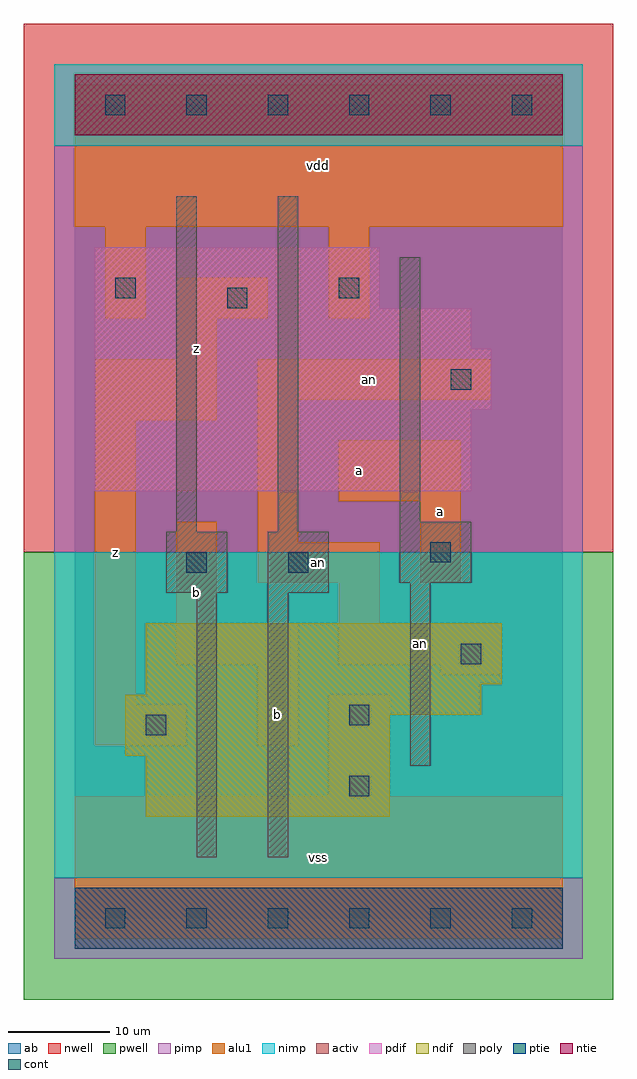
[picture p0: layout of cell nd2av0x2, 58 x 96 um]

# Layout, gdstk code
import gdstk
lib = gdstk.Library(unit=1e-6, precision=1e-09)
def R(c, l, rs):  # rectangles x0, y0, x1, y1
    for r in rs: c.add(gdstk.rectangle(r[:2], r[2:], *l))
def A(c, l, x, y, w, h, nx, ny, dx, dy):  # array of equal rectangles
    R(c, l, [(x+i*dx, y+j*dy, x+i*dx+w, y+j*dy+h) for i in range(nx) for j in range(ny)])
ndif = (3, 0)
pdif = (4, 0)
ntie = (5, 0)
ptie = (6, 0)
cont = (25, 0)
pwell = (41, 0)
nwell = (42, 0)
activ = (43, 0)
pimp = (44, 0)
nimp = (45, 0)
poly = (46, 0)
alu1 = (49, 0)
ab = (63, 0)

nd2av0x2 = lib.new_cell('nd2av0x2')
R(nd2av0x2, ndif, [(7,10,31,16), (5,16,31,20), (5,20,40,22), (7,22,40,23), (7,23,42,29)])
R(nd2av0x2, pdif, [(2,42,39,50), (2,50,41,56), (2,56,39,60), (2,60,30,66)])
R(nd2av0x2, ntie, [(0,77,48,83)])
R(nd2av0x2, ptie, [(0,-3,48,3)])
A(nd2av0x2, cont, 3, -1, 2, 2, 6, 2, 8, 80)
R(nd2av0x2, cont, [(27,12,29,14), (7,18,9,20), (27,19,29,21), (38,25,40,27), (11,34,13,36), (21,34,23,36), (35,35,37,37), (37,52,39,54), (15,60,17,62), (4,61,6,63), (26,61,28,63)])
R(nd2av0x2, pwell, [(-5,-8,53,36)])
R(nd2av0x2, nwell, [(-5,36,53,88)])
R(nd2av0x2, activ, [(0,-3,48,3), (7,10,31,16), (5,16,31,20), (5,20,40,22), (7,22,40,23), (7,23,42,29), (2,42,39,50), (2,50,41,56), (2,56,39,60), (2,60,30,66), (0,77,48,83)])
R(nd2av0x2, pimp, [(-2,-4,50,4), (-2,36,50,76)])
R(nd2av0x2, nimp, [(-2,4,50,36), (-2,76,50,84)])
R(nd2av0x2, poly, [(12,6,14,32), (19,6,21,32), (33,15,35,33), (9,32,15,38), (19,32,25,38), (32,33,39,39), (10,38,12,71), (20,38,22,71), (32,39,34,65)])
R(nd2av0x2, alu1, [(0,-2,48,12), (25,12,31,22), (2,17,11,21), (18,17,22,25), (2,21,6,49), (36,24,42,25), (10,25,22,29), (26,25,42,29), (10,29,14,39), (26,29,30,33), (18,33,30,37), (34,33,38,41), (18,37,22,51), (26,41,38,47), (2,49,14,55), (18,51,41,55), (10,55,14,59), (3,59,7,68), (10,59,19,63), (25,59,29,68), (0,68,48,82)])
R(nd2av0x2, ab, [(0,0,48,80)])
nd2av0x2.add(gdstk.Label('an', (24,35), layer=49, texttype=0))
nd2av0x2.add(gdstk.Label('an', (34,27), layer=49, texttype=0))
nd2av0x2.add(gdstk.Label('an', (29,53), layer=49, texttype=0))
nd2av0x2.add(gdstk.Label('z', (4,36), layer=49, texttype=0))
nd2av0x2.add(gdstk.Label('b', (20,20), layer=49, texttype=0))
nd2av0x2.add(gdstk.Label('b', (12,32), layer=49, texttype=0))
nd2av0x2.add(gdstk.Label('z', (12,56), layer=49, texttype=0))
nd2av0x2.add(gdstk.Label('vss', (24,6), layer=49, texttype=0))
nd2av0x2.add(gdstk.Label('a', (28,44), layer=49, texttype=0))
nd2av0x2.add(gdstk.Label('vdd', (24,74), layer=49, texttype=0))
nd2av0x2.add(gdstk.Label('a', (36,40), layer=49, texttype=0))

lib.write_gds('nd2av0x2.gds')
